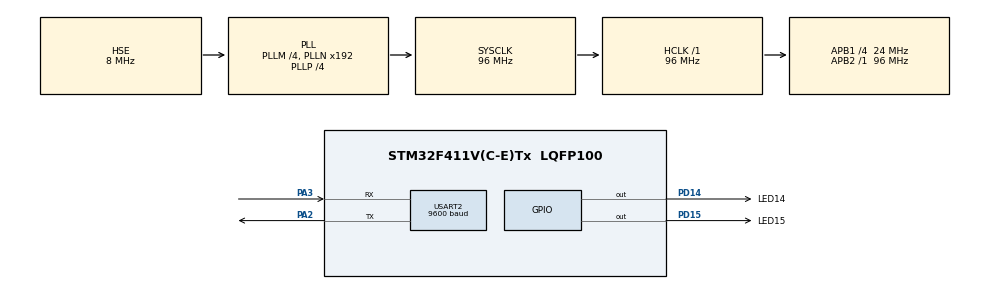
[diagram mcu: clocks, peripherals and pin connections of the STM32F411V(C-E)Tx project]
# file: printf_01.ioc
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Mcu.Family=STM32F4
Mcu.Name=STM32F411V(C-E)Tx
Mcu.Package=LQFP100
NVIC.PriorityGroup=NVIC_PRIORITYGROUP_0
PA2.Mode=Asynchronous
PA2.Signal=USART2_TX
PA3.Mode=Asynchronous
PA3.Signal=USART2_RX
PD14.GPIO_Label=LED14
PD14.Signal=GPIO_Output
PD15.GPIO_Label=LED15
PD15.Signal=GPIO_Output
PH0\ -\ OSC_IN.Mode=HSE-External-Oscillator
PH0\ -\ OSC_IN.Signal=RCC_OSC_IN
PH1\ -\ OSC_OUT.Mode=HSE-External-Oscillator
PH1\ -\ OSC_OUT.Signal=RCC_OSC_OUT
ProjectManager.HeapSize=0x200
ProjectManager.StackSize=0x400
ProjectManager.TargetToolchain=STM32CubeIDE
RCC.48MHZClocksFreq_Value=48000000
RCC.AHBFreq_Value=96000000
RCC.APB1CLKDivider=RCC_HCLK_DIV4
RCC.APB1Freq_Value=24000000
RCC.APB1TimFreq_Value=48000000
RCC.APB2Freq_Value=96000000
RCC.APB2TimFreq_Value=96000000
RCC.CortexFreq_Value=96000000
RCC.HCLKFreq_Value=96000000
RCC.HSE_VALUE=8000000
RCC.HSI_VALUE=16000000
RCC.LSE_VALUE=32768
RCC.PLLI2SM=5
RCC.PLLI2SN=200
RCC.PLLM=4
RCC.PLLP=RCC_PLLP_DIV4
RCC.PLLQ=8
RCC.PLLSourceVirtual=RCC_PLLSOURCE_HSE
RCC.SYSCLKFreq_VALUE=96000000
RCC.SYSCLKSource=RCC_SYSCLKSOURCE_PLLCLK
RCC.VCOOutputFreq_Value=384000000
USART2.BaudRate=9600
USART2.VirtualMode=VM_ASYNC
board=STM32F411E-DISCO

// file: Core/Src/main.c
/* USER CODE BEGIN Header */
/**
  ******************************************************************************
  * @file           : main.c
  * @brief          : Main program body
  ******************************************************************************
  * @attention
  *
  * Copyright (c) 2024 STMicroelectronics.
  * All rights reserved.
  *
  * This software is licensed under terms that can be found in the LICENSE file
  * in the root directory of this software component.
  * If no LICENSE file comes with this software, it is provided AS-IS.
  *
  ******************************************************************************
  */
/* USER CODE END Header */
#include "main.h"

/* USER CODE BEGIN Includes */
#include <stdio.h>
/* USER CODE END Includes */

UART_HandleTypeDef huart2;

/* USER CODE BEGIN PV */
	uint32_t grade = 5;
	uint32_t data_rx=0;
	uint32_t rx_data = 0;
	uint32_t array5[5];
	uint8_t control=0;
	uint8_t lenght=0;
	uint32_t show1=0;
	char name='R';
	uint32_t gelen_data = 0;
	uint32_t data_14 = 0;
	uint32_t data_TXE=1;

//#define PUTCHAR_PROTOTYPE int __io_putchar(int ch)

/* USER CODE END PV */

void SystemClock_Config(void);
static void MX_GPIO_Init(void);
static void MX_USART2_UART_Init(void);

/* USER CODE BEGIN 0 */

int _write(int file, char *ptr, int len)
{
  for (int DataIdx = 0; DataIdx < len; DataIdx++)
  {
 while(!(USART2->SR & USART_SR_TXE));
 //USART2->DR=(uint8_t*)ptr[DataIdx];
 USART2->DR=(uint8_t)ptr[DataIdx];
  }
  SET_BIT(USART2->CR1, USART_CR1_TXEIE);
     HAL_Delay(100);
  return len;
}

/* USER CODE END 0 */

int main(void)
{

  /* USER CODE BEGIN 1 */
	int number=4;
  /* USER CODE END 1 */

  /* MCU Configuration--------------------------------------------------------*/

  /* Reset of all peripherals, Initializes the Flash interface and the Systick. */
  HAL_Init();

  /* Configure the system clock */
  SystemClock_Config();

  /* Initialize all configured peripherals */
  MX_GPIO_Init();
  MX_USART2_UART_Init();

  /* USER CODE BEGIN 2 */

  	  //printf("Hello%d\n\r",number++);
  	  //HAL_Delay(1000);

  	/* 4- Enable UART Receive Data Register Not Empty */
  	   //SET_BIT(USART2->CR1, USART_CR1_RXNEIE);
  	   USART2->CR1 |= USART_CR1_RXNEIE;

  	   //SET_BIT(USART2->CR1, USART_CR1_TXEIE);

  	   /* 5 - Enable UART Interrupt in NVIC */

  	    HAL_NVIC_SetPriority(USART2_IRQn, 0, 0);
  	    HAL_NVIC_EnableIRQ(USART2_IRQn);

  /* USER CODE END 2 */

  /* Infinite loop */
  while (1)
  {

    /* USER CODE BEGIN 3 */
	  //HAL_GPIO_WritePin(LED15_GPIO_Port, LED15_Pin, GPIO_PIN_SET);
	  //USART2->DR = '3';
	  //printf("Hello%d\n\r",number++);
	  //printf("H");
	  //HAL_Delay(1000);
	  printf("Hello%d\n\r",number++);
	   	  HAL_Delay(1000);

  }
  /* USER CODE END 3 */
}

void SystemClock_Config(void)
{
  RCC_OscInitTypeDef RCC_OscInitStruct = {0};
  RCC_ClkInitTypeDef RCC_ClkInitStruct = {0};

  /** Configure the main internal regulator output voltage
  */
  __HAL_RCC_PWR_CLK_ENABLE();
  __HAL_PWR_VOLTAGESCALING_CONFIG(PWR_REGULATOR_VOLTAGE_SCALE1);

  /** Initializes the RCC Oscillators according to the specified parameters
  * in the RCC_OscInitTypeDef structure.
  */
  RCC_OscInitStruct.OscillatorType = RCC_OSCILLATORTYPE_HSE;
  RCC_OscInitStruct.HSEState = RCC_HSE_ON;
  RCC_OscInitStruct.PLL.PLLState = RCC_PLL_ON;
  RCC_OscInitStruct.PLL.PLLSource = RCC_PLLSOURCE_HSE;
  RCC_OscInitStruct.PLL.PLLM = 4;
  RCC_OscInitStruct.PLL.PLLN = 192;
  RCC_OscInitStruct.PLL.PLLP = RCC_PLLP_DIV4;
  RCC_OscInitStruct.PLL.PLLQ = 8;
  if (HAL_RCC_OscConfig(&RCC_OscInitStruct) != HAL_OK)
  {
    Error_Handler();
  }

  /** Initializes the CPU, AHB and APB buses clocks
  */
  RCC_ClkInitStruct.ClockType = RCC_CLOCKTYPE_HCLK|RCC_CLOCKTYPE_SYSCLK
                              |RCC_CLOCKTYPE_PCLK1|RCC_CLOCKTYPE_PCLK2;
  RCC_ClkInitStruct.SYSCLKSource = RCC_SYSCLKSOURCE_PLLCLK;
  RCC_ClkInitStruct.AHBCLKDivider = RCC_SYSCLK_DIV1;
  RCC_ClkInitStruct.APB1CLKDivider = RCC_HCLK_DIV4;
  RCC_ClkInitStruct.APB2CLKDivider = RCC_HCLK_DIV1;

  if (HAL_RCC_ClockConfig(&RCC_ClkInitStruct, FLASH_LATENCY_3) != HAL_OK)
  {
    Error_Handler();
  }
}

static void MX_USART2_UART_Init(void)
{

  huart2.Instance = USART2;
  huart2.Init.BaudRate = 9600;
  huart2.Init.WordLength = UART_WORDLENGTH_8B;
  huart2.Init.StopBits = UART_STOPBITS_1;
  huart2.Init.Parity = UART_PARITY_NONE;
  huart2.Init.Mode = UART_MODE_TX_RX;
  huart2.Init.HwFlowCtl = UART_HWCONTROL_NONE;
  huart2.Init.OverSampling = UART_OVERSAMPLING_16;
  if (HAL_UART_Init(&huart2) != HAL_OK)
  {
    Error_Handler();
  }

}

static void MX_GPIO_Init(void)
{
  GPIO_InitTypeDef GPIO_InitStruct = {0};

  /* GPIO Ports Clock Enable */
  __HAL_RCC_GPIOH_CLK_ENABLE();
  __HAL_RCC_GPIOA_CLK_ENABLE();
  __HAL_RCC_GPIOD_CLK_ENABLE();

  /*Configure GPIO pin Output Level */
  HAL_GPIO_WritePin(GPIOD, LED14_Pin|LED15_Pin, GPIO_PIN_RESET);

  /*Configure GPIO pins : LED14_Pin LED15_Pin */
  GPIO_InitStruct.Pin = LED14_Pin|LED15_Pin;
  GPIO_InitStruct.Mode = GPIO_MODE_OUTPUT_PP;
  GPIO_InitStruct.Pull = GPIO_NOPULL;
  GPIO_InitStruct.Speed = GPIO_SPEED_FREQ_LOW;
  HAL_GPIO_Init(GPIOD, &GPIO_InitStruct);

}

/* USER CODE BEGIN 4 */

//#define PUTCHAR_PROTOTYPE int __io_putchar(int ch)

/**
  * @brief  Retargets the C library printf function to the USART.
  *   None
  * @retval None
  */
/*PUTCHAR_PROTOTYPE
{
   Place your implementation of fputc here
   e.g. write a character to the USART1 and Loop until the end of transmission
	HAL_UART_Transmit(&huart2, (uint8_t *)&ch, 1, 0xFFFF);
   return ch;
}*/

void USART2_IRQHandler(void) {
	uint32_t isrflags = USART2->SR;
	uint32_t control_reg1 = USART2->CR1;
	 //data_TXE = USART2->SR & USART_SR_TXE;
	 //data_TXE = USART2->CR1 & USART_CR1_TCIE;

	//HAL_GPIO_WritePin(LED15_GPIO_Port,LED15_Pin,GPIO_PIN_SET);
	 /*while(data_TXE !=0){
		 HAL_GPIO_WritePin(LED15_GPIO_Port,LED15_Pin,GPIO_PIN_SET);
	 }*/
	//data_TXE = USART2->SR & USART_SR_TC;
	 /*if(data_TXE ==1){
		 HAL_GPIO_WritePin(LED15_GPIO_Port,LED15_Pin,GPIO_PIN_SET);
	 }*/
	/* UART in mode Receiver */
	if (((isrflags & USART_SR_RXNE) != RESET) && ((control_reg1 & USART_CR1_RXNEIE) != RESET)) {
		//HAL_GPIO_TogglePin(LED14_GPIO_Port,LED14_Pin);
		rx_data = (uint8_t) USART2->DR;
		if(control>=0 && (control<5)){
		array5[control]=rx_data;
		control++;
		} else {
			control = 0;
			array5[control] = rx_data;
		}

		if (rx_data == 'A') {
			lenght = sizeof(array5) / sizeof(array5[0]);
			HAL_GPIO_WritePin(LED15_GPIO_Port,LED15_Pin,GPIO_PIN_SET);
			//time1();
			//HAL_GPIO_WritePin(LED15_GPIO_Port,LED15_Pin,GPIO_PIN_RESET);
			while ((USART2->SR & USART_SR_TXE) == 0)
				;
			USART2->DR = 'K';
			while ((USART2->SR & USART_SR_TXE) == 0)
				;
			USART2->DR = 'T';
			while ((USART2->SR & USART_SR_TXE) == 0)
				;
			USART2->DR = 'E';
			while ((USART2->SR & USART_SR_TXE) == 0)
				;
			USART2->DR = 'P';
		}

		else if (rx_data == 'B') {
			HAL_GPIO_WritePin(LED15_GPIO_Port, LED15_Pin, GPIO_PIN_RESET);
		}
		return;
	}

	/* UART in mode Transmitter */
	if (((isrflags & USART_SR_TXE) != RESET) && ((control_reg1 & USART_CR1_TXEIE) != RESET)) {
		//USART2->CR1 &=~(USART_CR1_TXEIE);
		HAL_GPIO_TogglePin(LED14_GPIO_Port,LED14_Pin);
		HAL_Delay(1000);
		//HAL_GPIO_WritePin(LED14_GPIO_Port,LED14_Pin,GPIO_PIN_SET);
		gelen_data = USART2->DR;
		if(gelen_data == 51){
		HAL_GPIO_WritePin(LED15_GPIO_Port,LED15_Pin,GPIO_PIN_SET);
		//USART2->CR1 |= USART_CR1_RXNEIE;
		//USART2->CR1 &=~(USART_CR1_TXEIE);
		}
		CLEAR_BIT(USART2->CR1, USART_CR1_TXEIE);
		return;
	}
}

void time1(void){
	for (int var = 0; var < 10000000; ++var) {

	}
}

void UART_send_byte(uint8_t data)
{
	if(data==49){
		HAL_GPIO_WritePin(LED15_GPIO_Port,LED15_Pin,GPIO_PIN_SET);
	}
	//USART2->DR= data;
 //SET_BIT(USART2->CR1, USART_CR1_TXEIE);
}

/*void UART_send_byte(uint8_t data)
{
	UART_BufferTX.buffer[UART_BufferTX.head_pointer++] = data;
	if(UART_BufferTX.head_pointer == BUFFER_SIZE)
	{
		UART_BufferTX.head_pointer = 0;
	}
   Enable the UART Transmit Data Register Empty Interrupt
 SET_BIT(USART2->CR1, USART_CR1_TXEIE);
}*/

/* USER CODE END 4 */

void Error_Handler(void)
{
  __disable_irq();
  while (1)
  {
  }
}
